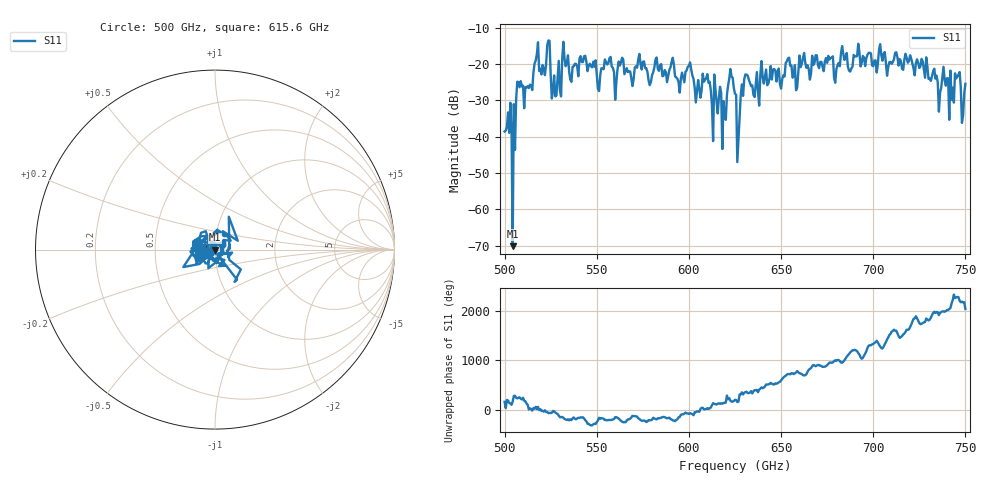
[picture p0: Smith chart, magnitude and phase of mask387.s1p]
!Created with skrf (http://scikit-rf.org).
# GHz S MA R 50.0
!freq magS11 angS11
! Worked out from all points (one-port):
!   401 points, 500 GHz to 750 GHz, reference 50 ohm
!   lowest |S11| = -70.1 dB at 504.4 GHz (marker M1), VSWR 1.00, Z = 50 + j0.00459 ohm
!   |S11| at or under -10 dB: start of sweep to end of sweep
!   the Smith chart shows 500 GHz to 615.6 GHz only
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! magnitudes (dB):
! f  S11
! 500 GHz  -38.6
! 502.5 GHz  -39.0
! 503.1 GHz  -30.7
! 504.4 GHz  -70.1
! 507.5 GHz  -25.0
! 513.8 GHz  -25.7
! 516.9 GHz  -19.1
! 520.6 GHz  -20.3
! 523.8 GHz  -13.5
! 526.9 GHz  -23.2
! 531.2 GHz  -18.6
! 562.5 GHz  -20.4
! 579.4 GHz  -25.0
! 590.6 GHz  -19.4
! 593.8 GHz  -24.1
! 608.8 GHz  -24.4
! 619.4 GHz  -34.1
! 622.5 GHz  -21.4
! 625 GHz  -28.2
! 626.9 GHz  -41.0
! 631.2 GHz  -22.9
! 636.9 GHz  -22.2
! 656.2 GHz  -23.8
! 680 GHz  -21.4
! 684.4 GHz  -18.9
! 687.5 GHz  -22.1
! 718.8 GHz  -19.7
! 750 GHz  -25.5
